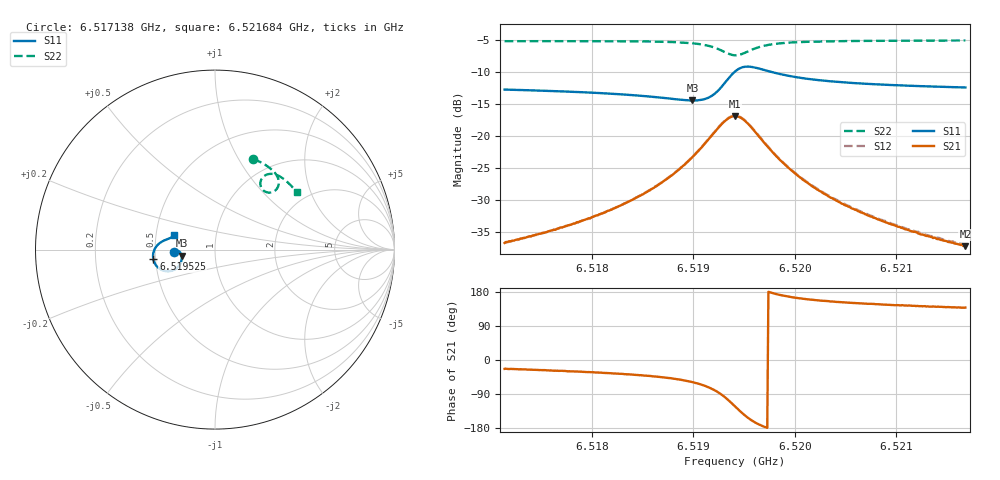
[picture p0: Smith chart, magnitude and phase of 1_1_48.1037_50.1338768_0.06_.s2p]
#  HZ  S  RI  R  50.00
! Rohde & Schwarz Vector Network Analyzer
! Rohde-Schwarz,ZNB20-2Port,1311601062101988,3.16
! Created: UTC 12/23/2023, 3:34:38 AM
! freq[Hz]  re:S11  im:S11  re:S21  im:S21  re:S12  im:S12  re:S22  im:S22
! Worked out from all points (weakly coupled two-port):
!   401 points, 6.517138 GHz to 6.521684 GHz, reference 50 ohm
!   highest |S21| = -16.89 dB at 6.519411 GHz (marker M1); lowest = -37.2 dB at 6.521684 GHz (marker M2)
!   lowest |S11| = -14.5 dB at 6.518991 GHz (marker M3), VSWR 1.47, Z = 34.2 - j2.38 ohm
!   |S11| at or under -10 dB: start of sweep to 6.519407 GHz; 6.51977 GHz to end of sweep
!   |S22| runs from -7.4 to -5.1 dB; largest |S21 - S12| = 0.0043
!   S11 on the Smith chart (normalised r, x): 6.517138 GHz: 0.63, -0.02; 6.519525 GHz: 0.49, -0.06; 6.521684 GHz: 0.62, +0.10
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6.5171383e9  -0.23 -0.0141  0.0135 -0.00584  0.0137 -0.00528  0.2142 0.5052
6.5175475e9  -0.2251 -0.0082  0.0159 -0.00809  0.0161 -0.00761  0.2443 0.4919
6.5178997e9  -0.2197 -0.00449  0.0188 -0.0112  0.0191 -0.0107  0.2703 0.4779
6.5183089e9  -0.2109 -0.00309  0.0236 -0.0177  0.0241 -0.0171  0.3011 0.4577
6.5186611e9  -0.1999 -0.00863  0.03 -0.0295  0.0311 -0.0288  0.3286 0.4336
6.5188316e9  -0.193 -0.0172  0.0336 -0.0407  0.0351 -0.0398  0.3419 0.4166
6.5189907e9  -0.1864 -0.0335  0.0359 -0.0582  0.038 -0.0576  0.3526 0.394
6.519093e9  -0.1854 -0.0519  0.0339 -0.0764  0.0363 -0.0759  0.3558 0.3738
6.5191839e9  -0.1918 -0.0761  0.0243 -0.0985  0.0275 -0.0984  0.3514 0.3506
6.5192407e9  -0.2038 -0.0943  0.0109 -0.1141  0.0142 -0.1147  0.3415 0.3351
6.5193203e9  -0.2382 -0.1168  -0.0232 -0.1308  -0.0196 -0.1325  0.3147 0.3186
6.5194112e9  -0.2979 -0.1127  -0.0766 -0.1209  -0.0737 -0.1241  0.273 0.3271
6.519468e9  -0.3287 -0.0873  -0.1012 -0.0953  -0.0994 -0.0989  0.2561 0.349
6.5195248e9  -0.3436 -0.0541  -0.1108 -0.0647  -0.1097 -0.0685  0.2528 0.3742
6.5196271e9  -0.3392 -0.00441  -0.1015 -0.0227  -0.1017 -0.0258  0.2697 0.4063
6.5197521e9  -0.3177 0.0279  -0.0795 0.00146  -0.0802 -0.000824  0.298 0.4208
6.5199453e9  -0.2906 0.0475  -0.0545 0.0127  -0.0554 0.0113  0.3316 0.4196
6.5201726e9  -0.2707 0.0561  -0.038 0.0145  -0.0389 0.0137  0.3587 0.409
6.5204794e9  -0.255 0.0623  -0.0261 0.0138  -0.0269 0.0131  0.3856 0.3917
6.520934e9  -0.2408 0.0687  -0.0171 0.0118  -0.0179 0.0113  0.4159 0.3647
6.521309e9  -0.2327 0.0739  -0.0131 0.0104  -0.0136 0.0101  0.437 0.3417
6.521684e9  -0.2259 0.079  -0.0104 0.00922  -0.0107 0.00929  0.4558 0.3186
